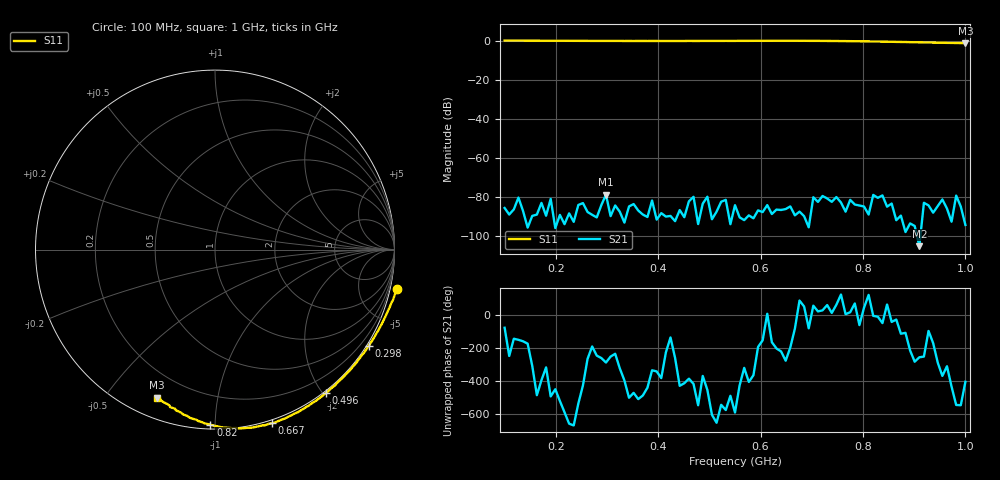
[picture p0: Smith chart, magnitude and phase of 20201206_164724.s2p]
# HZ S RI R 50
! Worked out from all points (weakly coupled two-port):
!   101 points, 100 MHz to 1 GHz, reference 50 ohm
!   highest |S21| = -78.90 dB at 298 MHz (marker M1); lowest = -105.3 dB at 910 MHz (marker M2)
!   lowest |S11| = -1.1 dB at 1 GHz (marker M3), VSWR 16.54, Z = 4.43 - j34 ohm
!   |S11| at or under -10 dB: nowhere
!   S12 and S22 are empty: the file has one direction only
!   S11 on the Smith chart (normalised r, x): 100 MHz: -1.62, -9.09; 298 MHz: -0.07, -3.49; 496 MHz: -0.03, -2.04; 667 MHz: -0.03, -1.38; 820 MHz: 0.02, -0.97; 1 GHz: 0.09, -0.68
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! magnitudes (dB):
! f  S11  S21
! 100 MHz  0.3  -85.7
! 253 MHz  0.1  -83.2
! 289 MHz  0.1  -84.2
! 298 MHz  0.1  -78.9
! 307 MHz  0.1  -89.9
! 406 MHz  0.1  -88.4
! 496 MHz  0.1  -79.9
! 550 MHz  0.1  -84.3
! 667 MHz  0.2  -89.5
! 703 MHz  0.1  -80.2
! 721 MHz  0.1  -79.6
! 730 MHz  0.1  -80.8
! 811 MHz  -0.2  -89.1
! 820 MHz  -0.2  -79.0
! 829 MHz  -0.2  -80.5
! 838 MHz  -0.3  -79.3
! 847 MHz  -0.3  -85.1
! 856 MHz  -0.4  -83.5
! 910 MHz  -0.6  -105.3
! 973 MHz  -0.9  -92.8
! 982 MHz  -1.0  -79.4
! 1 GHz  -1.1  -94.4
